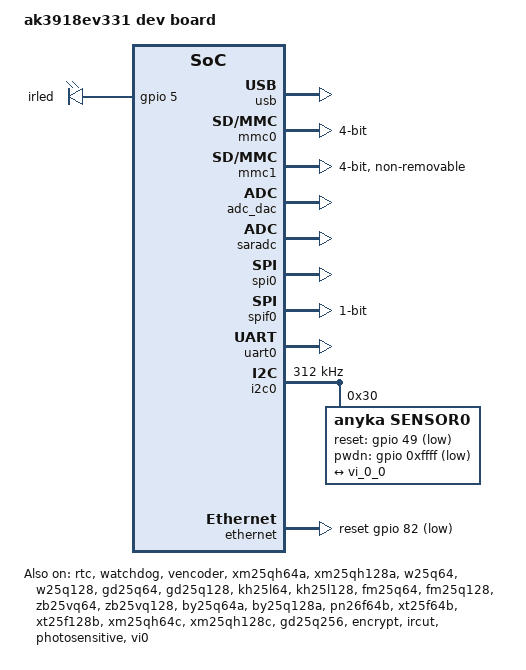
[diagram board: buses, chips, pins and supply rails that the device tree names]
/*
 * cloud39ev3 ak39ev330 dev board dts
 *
 * Copyright (C) 2020 Anyka(Guangzhou) Microelectronics Technology Co., Ltd.
 *
 * This program is free software; you can redistribute it and/or modify
 * it under the terms of the GNU General Public License as published by
 * the Free Software Foundation; either version 2 of the License, or
 * (at your option) any later version.
 *
 * This program is distributed in the hope that it will be useful,
 * but WITHOUT ANY WARRANTY; without even the implied warranty of
 * MERCHANTABILITY or FITNESS FOR A PARTICULAR PURPOSE.  See the
 * GNU General Public License for more details.
 */

/dts-v1/;
#include "anycloud_ak39ev331.dtsi"
#include "anycloud_ak39ev330_norflash.dtsi"

/ {
    compatible = "anyka,ak3918ev331";
    model = "ak3918ev331 dev board";
	version = "V1.0.00";
};
/*
&core_pll {
    clock-div-od = <0>;
    clock-div-n = <3>;
    clock-frequency = <640000000>;
};
*/
&gpio {
    /* anyka,function sharepin func index according to table 2-1 sharepin-list */
    /* index: 0: FUNCTION0, 1: FUNCTION1, 2: FUNCTION2, 3: FUNCTION3, 4: FUNCTION4 */
    /* anyka,pull config value bit[7:0]--pupd config */
    /* bit[7:0]--pupd config, bit[7]:reserved, bit[6:4] 1:enable/ 0:disable, bit[3:0] 0:select PU /1:select PD */

    ircut_pins: ircut_pins {
        anyka,pins = <0>;
        anyka,function = <0>;
        anyka,pull = <0x00000010>;
    };

    dvp0_12bits_pins: dvp0_12bits_pins {
        anyka,pins = <6 7 8 9 64 65 66 67 68 69 70 71 72 73 74 75>;
        anyka,function = <0>;
        anyka,pull = <0x00000001>;

		/*
		 * <new old>, old is pin of IC，is maped to new.
		 * for example:
		 * <73 75>: pin of gpio75 used as gpio73/cis0_d11 function,
		 *     not as origh function gpio75/cis0_d6
		 */
        anyka,map = <73 75
                     72 74
                     70 71
                     71 70
                     74 72
                     75 73>;
    };

    dvp0_10bits_pins: dvp0_10bits_pins {
        anyka,pins = <8 9 64 65 66 67 68 69 70 71 72 73 74 75>;
        anyka,function = <0>;
        anyka,pull = <0x00000001>;

		/*
		 * <new old>, old is pin of IC，is maped to new.
		 * for example:
		 * <73 75>: pin of gpio75 used as gpio73/cis0_d11 function,
		 *     not as origh function gpio75/cis0_d6
		 */
        anyka,map = <73 75
                     72 74
                     70 71
                     71 70
                     74 72
                     75 73>;
    };

    dvp0_8bits_pins: dvp0_8bits_pins {
        anyka,pins = <64 65 66 67 68 69 70 71 72 73 74 75>;
        anyka,function = <0>;
        anyka,pull = <0x00000001>;

		/*
		 * <new old>, old is pin of IC，is maped to new.
		 * for example:
		 * <73 75>: pin of gpio75 used as gpio73/cis0_d11 function,
		 *     not as origh function gpio75/cis0_d6
		 */
        anyka,map = <73 75
                     72 74
                     70 71
                     71 70
                     74 72
                     75 73>;
    };

    mipi0_2lane_pins: mipi0_2lane_pins {
        anyka,pins = <70 71 72 73 74 75>;
        anyka,function = <3 3 3 2 2 2>;
        anyka,pull = <0x00000010>;
    };

    mipi0_1lane_pins: mipi0_1lane_pins {
		/*H3B 1lane时不支持lane1用作其他用途，所以这里按照2lane配置*/
        anyka,pins = <70 71 72 73 74 75>;
        anyka,function = <3 3 3 2 2 2>;
        anyka,pull = <0x00000010>;
    };

    csi0_sclk_pin: csi0_sclk_pin {
        anyka,pins = <64>;
        anyka,function = <0>;
        anyka,pull = <0x00000001>;
    };

    csi1_sclk_pin: csi1_sclk_pin {
        anyka,pins = <3>;
        anyka,function = <2>;
        anyka,pull = <0x00000001>;
    };

    i2c0_pins: i2c0_pins {
        anyka,pins = <27 28>;
        anyka,function = <1>;
        anyka,pull = <0x00000010>;
        //anyka,pull = <0x01011110>;
    };

    mci0_pins: mci0_pins {
        /* 4 line */
        /*
        anyka,pins = <31 32 33 34 35 36>;
        anyka,function = <1>;
        anyka,pull = <0x00000010>;
        */

        /* 4 line */
        anyka,pins = <31 32 33 34 80 81>;
        anyka,function = <1 1 1 1 2 2>;
        anyka,pull = <0x00000010>;

        /* 1 line */
        /*
        anyka,pins = <31 32 33>;
        anyka,function = <1>;
        anyka,pull = <0x00000010>;*/
    };

    mci1_pins: mci1_pins {
        /* 4 line */
        /*       
        anyka,pins = <41 42 24 23 20 19>;
        anyka,function = <1>;
        anyka,pull = <0x00000010>;*/

        /* 1 line */
        /*
        anyka,pins = <41 42 43 24>;
        anyka,function = <1>;
        anyka,pull = <0x00000010>; */

        /* 1 line */
        /*
        anyka,pins = <41 42 43 44>;
        anyka,function = <1>;
        anyka,pull = <0x00000010>; */

        /* 4 line */
        anyka,pins = <41 42 24 23 20 19>;
        anyka,function = <1 1 2 2 2 2>;
        anyka,pull = <0x00000010>;  
    };

    /*
    wifi_en_pins:wifi_en_pins{
        anyka,pins = <69>;
        anyka,function = <1>;
        anyka,pull = <0x00000010>; 
    };
    */
    spiflash_pins: spiflash_pins {
        anyka,pins = <25 26 35 36 >; /* 1 LINE mode */
        anyka,function = <1 1 2 2 >;
        anyka,pull = <0x00000010>;
    };

	gpiokey_pins:gpiokey_pins {
			anyka,pins = <84>;
			anyka,function = <0>;
			anyka,pull = <0x00000010>;
	};

    /*speak_en and linein_detect gpio setting */
    speak_en_pins: speak_en_pins {
        anyka,pins = <79>;
        anyka,function = <0>;
        anyka,pull = <0x00000010>;
    };

    uart0_pins: uart0_pins {
        anyka,pins = <1 2>;
        anyka,function = <1>;
        anyka,pull = <0x00000010>;
    };
                
    uart1_pins: uart1_pins {
        anyka,pins = <0 5>;
        anyka,function = <2>;
        anyka,pull = <0x00000010>;
    };

	phy_reset_pins: phy_reset_pins {
		anyka,pins = <82>;
	    anyka,function = <0>;
        anyka,pull = <0x00000010>;
    };

	/*
	* RMII_MDC(GPIO[10]),RMII_MDIO(GPIO[11]),RMII_TXEN(GPIO[13]),RMII_TXD[0](GPIO[14]), RMII_TXD[1](GPIO15)
	* RMII_RXD[0](GPIO[19]), RMII_RXD[1](GPIO[20]), RMII_RXER(GPIO[23]), RMII_RXDV(GPIO[24]), RMII_50M(OPCLK, GPIO[47])
	*/
    ethernet_pins_rmii: ethernet_pins_rmii {
		anyka,pins 		= <10 11 13 14 15 19 20 23 24 47>;
        anyka,function 	= <1>;
        anyka,pull = <0x00000011 0x00000010 0x00000011 0x00000011 0x00000011 0x00000011 0x00000011 0x00000011 0x00000011 0x00000001>;
    };
    motor0_pins: motor0_pins {
        anyka,pins = <68 9 8 7>;
        anyka,function = <1>;
        anyka,pull = <0x00000010>;
    };

    motor1_pins: motor1_pins {
        anyka,pins = <6 67 66 65>;
        anyka,function = <1>;
        anyka,pull = <0x00000010>;
    };

    led_pins:led_pins {
        anyka,pins = <5>;
        anyka,function = <0>;
        anyka,pull = <0x00000010>;
    };
};

&rtc {
	 /*
	  * rtc osc_source_select, 1 means INTERNAL RC OSC, 0 means EXTERNAL XTAL
	  * if internal RC OSC is used to generate 32KH,time adjustment should be setting.(basic unit: ms)
	  */
	 osc-select = <1>;
	 adjust-time = <120000>;
   status = "okay";
};

&watchdog {
	/*max feed dog time = 357s, default setting time = 10s. */
    def_heartbeat = <10>;
    status = "okay";
};

&vencoder {
    status = "okay";
};

&usb {
    status = "okay";
};

&mmc0 {
    bus-width = <0x4>;
    max-frequency = <50000000>;
    /*
     *  detect mode:
     *  (1) non-removable;
     *  (2) detect-gpio/detect-gpios: card detect using gpio
     *      for example:
     *      detect-gpio = <&gpio 76 1>;  or detect-gpios = <&gpio 76 1>;
     *  (3) cd_clk: card detect using MCLK
     */
    cd_clk;
    /* if support highspeed, using cap-sd-highspeed */
    cap-sd-highspeed;
    pinctrl-names = "default";
    pinctrl-0 = <&mci0_pins>;     
    status = "okay";
};

&mmc1 {
    bus-width = <0x4>;
    max-frequency = <50000000>;
    /*
     *  detect mode:
     *  (1) non-removable;
     *  (2) detect-gpio/detect-gpios: card detect using gpio
     *      for example:
     *      detect-gpio = <&gpio 76 1>;  or detect-gpios = <&gpio 76 1>;
     *  (3) cd_clk: card detect using MCLK
     */
    non-removable;
    /* if support highspeed, using cap-sd-highspeed */
    cap-sd-highspeed;
    /* if support sdio, using cap-sdio-irq*/
    cap-sdio-irq;
    pinctrl-names = "default";
    pinctrl-0 = <&mci1_pins>;
   /* 
    * support sdio wifi circuit enable function 
    */
    /*
    pinctrl-0 = <&mci1_pins>,<&wifi_en_pins>;
    pinctrl-1 = <&mci1_idle_pins>;
    power-pins = <&gpio 69 1>;		////power-pins is which wifi_en_pins describes 
    power-pins-value = <1>;		//initial power pin value
    */
    status = "okay";
};


&adc_dac {
    pinctrl-names = "default";
    pinctrl-0 = <&speak_en_pins>;
    /* speak-gpios is which speak_en_pins describes */
    speak-gpios = <&gpio 79 1>;
    /* the level of speak-gpios votage for power on audio: 0=low, 1=high*/
    speak-gpios-en = <1>;
    //linein-gpios = <&gpio 54 1>;
    status = "okay";

    dev0 {
        snd-dev = <SND_CARD_DAC_PLAYBACK>;
        snd-type = <AK_PCM_DEV_PLAYBACK>;
        snd-idx = <0>;
    };

    dev1 {
        snd-dev = <SND_CARD_ADC_CAPTURE>;
        snd-type = <AK_PCM_DEV_CAPTURE>;
        snd-idx = <0>;
    };

    dev2 {
        snd-dev = <SND_CARD_DAC_LOOPBACK>;
        snd-type = <AK_PCM_DEV_LOOPBACK>;
        snd-idx = <0>;
    };
};

&saradc{
    /* SAR ADC VREF selection
    * 0:To select AVCC 3.3V as VREF for SAR ADC.
    * 1:To select 3.0V generated from BGR as VREF for SAR ADC.
    */
    vref-select = <1>;
    /*
    * 0:To disable BAT voltage divider.
    * 1:To enable BAT voltage divider divided by 2.
    */
    battery-divider = <1>;
    /*
    * Sampling number
    * Read the sampling data for N times and then calculate the average value.
    * N ranges from 1 to 7.
    */
    sampling-num = <3>;
    status = "okay";
};

&spi0 {
    pinctrl-names = "default";
    pinctrl-0 = <&spiflash_pins>;
    cs-gpios = <&gpio 25 1>;
    status = "okay";
};

&spif0 {
	/* spi flash data bus width:
	** 1 means 1 wire mode.
	** 2 means 2 wire mode
	** 4 means 4 wire mode.
	** default: 4 wire mode.
	**/
	bus-width = <1>;
	status = "okay";
};

&xm25qh64a{
    status = "okay";
};

&xm25qh128a{
    status = "okay"; 
};

&w25q64{
    status = "okay"; 
};

&w25q128{
    status = "okay";
};

&gd25q64{
    status = "okay";
};

&gd25q128{
    status = "okay";
};

&kh25l64{
    status = "okay";
};

&kh25l128{
    status = "okay";
};

&fm25q64{
    status = "okay";
};

&fm25q128{
    status = "okay";
};

&zb25vq64{
    status = "okay";
};

&zb25vq128{
    status = "okay";
};

&by25q64a{
    status = "okay";
};

&by25q128a{
    status = "okay";
};

&pn26f64b{
    status = "okay";
};

&xt25f64b{
    status = "okay";
};

&xt25f128b{
    status = "okay";
};

&xm25qh64c{
    status = "okay";
};

&xm25qh128c{
    status = "okay";
};
&gd25q256{
     status = "okay";
};

&uart0 {
    pinctrl-names = "default";
	pinctrl-0 = <&uart0_pins>;
    status = "okay";
};

&uart1 {
    pinctrl-names = "default";
	pinctrl-0 = <&uart1_pins>;
    status = "disable";
};

&i2c0 {
    pinctrl-names = "default";
    pinctrl-0 = <&i2c0_pins>;

    clock-frequency = <312000>;
    sda-delay = <100>;
    status = "okay";
	#address-cells = <1>;
	#size-cells = <0>;

	sensor0: camera@0x30{
		compatible = "anyka,sensor0";
		reg = <0x30>;

		/*0xffff means the gpio is invalid*/
		reset-gpio = <&gpio 49 1>;
		pwdn-gpio = <&gpio 0xffff 1>;

		port {
			sensor0_0: endpoint@0 {
				remote-endpoint = <&vi_0_0>;
			};
		};
	};
};

&i2c1 {
    pinctrl-names = "default";
    //pinctrl-0 = <&i2c1_pins>;

    clock-frequency = <312000>;
    sda-delay = <100>;
    status = "disable";
};

&i2c2 {
    pinctrl-names = "default";
    //pinctrl-0 = <&i2c2_pins>;

    clock-frequency = <312000>;
    sda-delay = <100>;
    status = "disable";
};

&encrypt{
   /*
    * encrypt-mode
    * 0 = CRYPTO_SINGLE_GROUP_MODE ; 1 = CRYPTO_MULTI_GROUP_MODE
    */
    encrypt-mode = <1>;
    status = "okay";
};

&ethernet {
    pinctrl-names = "default";
    pinctrl-0 = <&ethernet_pins_rmii &phy_reset_pins>;
    reset-gpios = <&gpio 82 1>;
	phy-address = <1>;
    status = "okay";
};

&ircut {
    pinctrl-names = "default";
    pinctrl-0 = <&ircut_pins>;

	ircut-a = "0";
	/*set the level for day mode. range: 0, 1*/
	ircut-a-day-level = "0";
	status = "okay";
};

&photosensitive {
    //pinctrl-names = "default";
    //pinctrl-0 = <&photosensitive_pins>;

	/*range: saradc~1, gpio number*/
	photosensitive-port = "saradc0";
	/*the level for day mode, range: low, high*/
	photosensitive-day-level = "high";
    photosensitive-higher-level = "900";
    photosensitive-lower-level = "400";
	status = "okay";
};

&leds {
    pinctrl-names = "default";
    pinctrl-0 = <&led_pins>;
    status = "okay";

    ir_led {
        label = "irled";
        gpios = <&gpio 5 GPIO_ACTIVE_HIGH>;
    };
};



&gpiokeys {
		#address-cells = <1>;
		#size-cells = <0>;
		pinctrl-0 = <&gpiokey_pins>;
		pinctrl-names = "default";
		status = "okay";

	key_detect {
        label = "key_detect";
        gpios = <&gpio 84 GPIO_ACTIVE_HIGH>;
        linux,code = <116>;
        debounce-interval = <100>;
        wakeup-source;
	};
};


&motor0 {
	/*
	 * part-number: part name
	 * pwm-tbl-cw: pwm table int clkwise
	 * pwm-pins: gpio list to motor
	 * steps-one-circle: total steps one circle (360degree)
	 *
	 * total-steps:	total steps the motor can run
	 * boundary-steps: reserve some step for each boudary
	 * attach-timer: timer for the motor
	 *					NOTE: different motor attach different timer
	 *
	 * speed-step: speed in step
	 */

	pinctrl-names = "default";
	pinctrl-0 = <&motor0_pins>;

	part-number = "HZF-24BYJ48";
	pwm-tbl-cw = <0x09 0x01 0x03 0x02 0x06 0x04 0x0c 0x08>;
	pwm-pins = <68 9 8 7>;
	steps-one-circle = <4096>;
	total-steps = <2500>;
	boundary-steps = <50>;
	attach-timer = <2>;

	speed-step = <200>;

	status = "disable";
};

&motor1 {
	/*
	 * part-number: part name
	 * pwm-tbl-cw: pwm table int clkwise
	 * pwm-pins: gpio list to motor
	 * steps-one-circle: total steps one circle (360degree)
	 *
	 * total-steps:	total steps the motor can run
	 * boundary-steps: reserve some step for each boudary
	 * attach-timer: timer for the motor
	 *					NOTE: different motor attach different timer
	 *
	 * speed-step: speed in step
	 */

	pinctrl-names = "default";
	pinctrl-0 = <&motor1_pins>;

	part-number = "HZF-24BYJ48";
	pwm-tbl-cw = <0x09 0x01 0x03 0x02 0x06 0x04 0x0c 0x08>;
	pwm-pins = <6 67 66 65>;
	steps-one-circle = <4096>;

	total-steps = <600>;
	boundary-steps = <50>;
	attach-timer = <3>;

	speed-step = <200>;

	status = "disable";
};

&pwm0 {
	pinctrl-names = "default";

	//pinctrl-0 = <&pwm0_pins>;
	/*
	**frequency of PWM ranges from 92/256Hz(0.36Hz) to 6MHz.
	**duty of PWM ranges from 1 to 65535.
	**Minimum duty cycle:1/65536
	**Maximum duty cyscle:65535/65536.
	**period-ns: period of the PWM signal (in nanoseconds)
        **duty-ns: duty cycle of the PWM signal (in nanoseconds)
	**pwm-enable = 0 means disable pwm function.
	**pwm-enable = 1 means enable pwm function.
	*/
	period-ns = <1000000>;
	duty-ns = <500000>;
	pwm-enable = <1>;
	status = "disable";
};

&pwm1 {
	pinctrl-names = "default";

	//pinctrl-0 = <&pwm1_pins>;
	/*
	**frequency of PWM ranges from 92/256Hz(0.36Hz) to 6MHz.
	**duty of PWM ranges from 1 to 65535.
	**Minimum duty cycle:1/65536
	**Maximum duty cyscle:65535/65536.
	**period-ns: period of the PWM signal (in nanoseconds)
        **duty-ns: duty cycle of the PWM signal (in nanoseconds)
	**pwm-enable = 0 means disable pwm function.
	**pwm-enable = 1 means enable pwm function.
	*/
	period-ns = <1000000>;
	duty-ns = <500000>;
	pwm-enable = <1>;
	status = "disable";
};

&pwm2 {
	pinctrl-names = "default";

	//pinctrl-0 = <&pwm2_pins>;
	/*
	**frequency of PWM ranges from 92/256Hz(0.36Hz) to 6MHz.
	**duty of PWM ranges from 1 to 65535.
	**Minimum duty cycle:1/65536
	**Maximum duty cyscle:65535/65536.
	**period-ns: period of the PWM signal (in nanoseconds)
        **duty-ns: duty cycle of the PWM signal (in nanoseconds)
	**pwm-enable = 0 means disable pwm function.
	**pwm-enable = 1 means enable pwm function.
	*/
	period-ns = <1000000>;
	duty-ns = <500000>;
	pwm-enable = <1>;
	status = "disable";
};

&pwm3 {
	pinctrl-names = "default";

	//pinctrl-0 = <&pwm3_pins>;
	/*
	**frequency of PWM ranges from 92/256Hz(0.36Hz) to 6MHz.
	**duty of PWM ranges from 1 to 65535.
	**Minimum duty cycle:1/65536
	**Maximum duty cyscle:65535/65536.
	**period-ns: period of the PWM signal (in nanoseconds)
        **duty-ns: duty cycle of the PWM signal (in nanoseconds)
	**pwm-enable = 0 means disable pwm function.
	**pwm-enable = 1 means enable pwm function.
	*/
	period-ns = <1000000>;
	duty-ns = <500000>;
	pwm-enable = <1>;
	status = "disable";
};

&pwm4 {
	pinctrl-names = "default";
	//pinctrl-0 = <&pwm4_pins>;
	/*
	**frequency of PWM ranges from 92/256Hz(0.36Hz) to 6MHz.
	**duty of PWM ranges from 1 to 65535.
	**Minimum duty cycle:1/65536
	**Maximum duty cyscle:65535/65536.
	**period-ns: period of the PWM signal (in nanoseconds)
        **duty-ns: duty cycle of the PWM signal (in nanoseconds)
	**pwm-enable = 0 means disable pwm function.
	**pwm-enable = 1 means enable pwm function.
	*/
	period-ns = <1000000>;
	duty-ns = <500000>;
	pwm-enable = <1>;
	status = "disable";
};


&vi0{
	pinctrl-names = "dvp0_12bits", "dvp0_10bits", "dvp0_8bits",
		"mipi0_2lane", "mipi0_1lane",
		"csi0_sclk", "csi1_sclk";
    pinctrl-0 = <&dvp0_12bits_pins>;
    pinctrl-1 = <&dvp0_10bits_pins>;
    pinctrl-2 = <&dvp0_8bits_pins>;
    pinctrl-3 = <&mipi0_2lane_pins>;
    pinctrl-4 = <&mipi0_1lane_pins>;
    pinctrl-5 = <&csi0_sclk_pin>;
    pinctrl-6 = <&csi1_sclk_pin>;
    status = "okay";

	port@0 {
		#address-cells = <1>;
		#size-cells = <0>;

		vi_0_0: endpoint@0 {
			reg = <0>;
			remote-endpoint = <&sensor0_0>;
		};
	};
};
